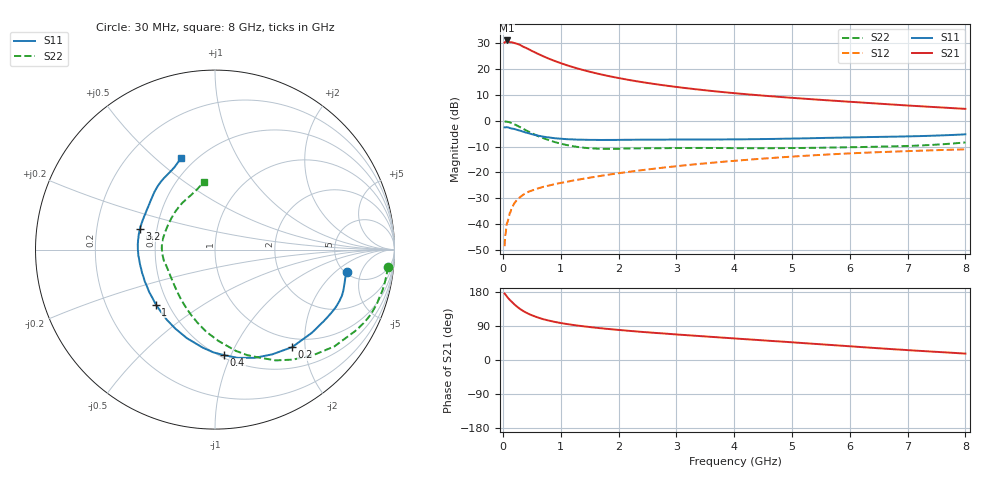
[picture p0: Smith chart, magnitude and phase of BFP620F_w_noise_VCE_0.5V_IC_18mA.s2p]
! Infineon Technologies  Discrete & RF Semiconductors
! BFP620F
! VCE =  0.5 V,  IC =  18 mA
! Common Emitter S-Parameters:  Dec 2014
# GHz  S  MA  R  50
!  f  S11  S21  S12  S22
! GHz  MAG  ANG  MAG  ANG  MAG  ANG  MAG  ANG
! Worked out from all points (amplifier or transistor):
!   95 points, 30 MHz to 8 GHz, reference 50 ohm
!   highest |S21| = 31.2 dB at 70 MHz (marker M1)
!   |S21| within 3 dB of that: start of sweep to 411 MHz
!   unconditionally stable (mu >= 1): 2.966 GHz to end of sweep
!   at 300 MHz: K = 0.25, MSG = 29.5 dB, |S12| = -29.6 dB
!   at 3.3 GHz: K = 1.01, MAG = 14.0 dB, |S12| = -16.9 dB
!   at 8 GHz: K = 1.08, MAG = 6.2 dB, |S12| = -11.1 dB
!   lowest NFmin = 0.78 dB at 450 MHz
!   S11 on the Smith chart (normalised r, x): 30 MHz: 5.22, -2.90; 200 MHz: 0.84, -1.75; 400 MHz: 0.52, -0.94; 1 GHz: 0.43, -0.33; 3.2 GHz: 0.40, +0.12; 8 GHz: 0.42, +0.61
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0.03  0.746 -9.5  32.85 175.2  0.0037 85.2  0.967 -5.8
0.06  0.7508 -17.6  35.78 169.7  0.0088 79.6  0.9629 -11.9
0.07  0.7524 -20.0  36.2 167.6  0.0104 85.0  0.9599 -14.0
0.09  0.7462 -25.2  35.55 163.6  0.0118 78.5  0.9518 -18.1
0.12  0.725 -33.5  33.58 158.6  0.0163 76.1  0.9329 -24.3
0.15  0.7112 -40.7  33.55 154.1  0.0201 73.5  0.9037 -30.1
0.2  0.6929 -51.6  32.24 146.6  0.0253 69.3  0.8566 -39.0
0.25  0.6652 -61.3  31.1 140.1  0.0297 64.7  0.8032 -47.1
0.3  0.6426 -69.8  29.57 134.4  0.0332 61.6  0.7517 -54.6
0.35  0.6161 -78.2  27.38 129.4  0.0367 59.2  0.7038 -61.3
0.4  0.5904 -85.0  26 125.2  0.0394 57.2  0.6519 -67.5
0.5  0.5506 -97.1  22.76 118.1  0.0443 54.2  0.5758 -78.4
0.7  0.4926 -116.6  17.83 107.6  0.0524 51.5  0.4602 -96.1
1  0.4499 -137.1  13.14 97.6  0.0624 51.0  0.3605 -116.7
1.4  0.4297 -155.5  9.592 88.8  0.0755 51.3  0.3008 -139.1
2  0.4264 -173.5  6.764 79.4  0.0962 51.4  0.2863 -162.6
2.7  0.4319 172.5  5.032 70.8  0.1208 49.6  0.2943 -177.0
3.2  0.4335 164.4  4.263 65.3  0.1386 47.7  0.2969 175.8
4.1  0.4373 152.1  3.362 55.9  0.1706 42.9  0.2947 164.0
5.4  0.4616 138.0  2.596 42.5  0.2151 34.3  0.2997 144.0
6.7  0.4913 124.2  2.082 29.0  0.251 24.3  0.3191 123.2
8  0.5465 110.4  1.706 16.9  0.2794 14.7  0.3804 99.5
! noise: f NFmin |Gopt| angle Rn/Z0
0.45  0.78  0.08  6  0.21
0.9  0.84  0.08  15  0.18
1.5  0.89  0.08  16  0.14
1.8  0.91  0.07  17  0.13
1.9  0.92  0.04  34  0.15
2.4  0.96  0.03  60  0.14
3.5  1.04  0.03  133  0.14
5.5  1.18  0.13  224  0.09
6  1.21  0.13  245  0.13
